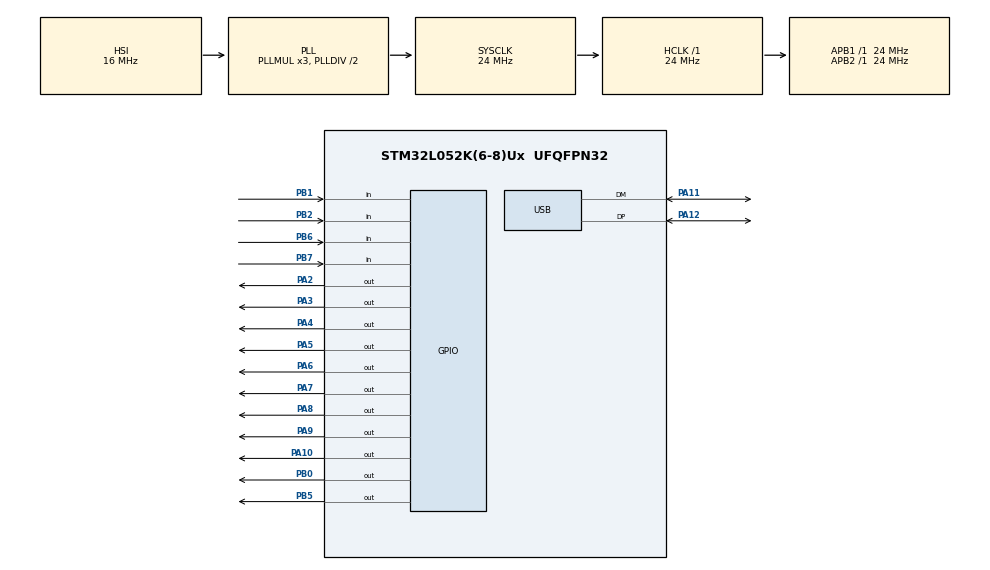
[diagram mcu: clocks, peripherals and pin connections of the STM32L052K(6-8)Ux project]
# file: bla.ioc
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Mcu.Family=STM32L0
Mcu.Name=STM32L052K(6-8)Ux
Mcu.Package=UFQFPN32
NVIC.USB_IRQn=true\:0\:0\:false\:false\:true\:false\:true\:true
PA10.Signal=GPIO_Output
PA11.Mode=Device
PA11.Signal=USB_DM
PA12.Mode=Device
PA12.Signal=USB_DP
PA13.Mode=Serial_Wire
PA13.Signal=SYS_SWDIO
PA14.Mode=Serial_Wire
PA14.Signal=SYS_SWCLK
PA2.Signal=GPIO_Output
PA3.Signal=GPIO_Output
PA4.Signal=GPIO_Output
PA5.Signal=GPIO_Output
PA6.Signal=GPIO_Output
PA7.Signal=GPIO_Output
PA8.Signal=GPIO_Output
PA9.Signal=GPIO_Output
PB0.Signal=GPIO_Output
PB1.GPIO_PuPd=GPIO_PULLDOWN
PB1.Signal=GPIO_Input
PB2.GPIO_PuPd=GPIO_PULLDOWN
PB2.Signal=GPIO_Input
PB5.Signal=GPIO_Output
PB6.GPIO_PuPd=GPIO_PULLDOWN
PB6.Signal=GPIO_Input
PB7.GPIO_PuPd=GPIO_PULLDOWN
PB7.Signal=GPIO_Input
ProjectManager.HeapSize=0x200
ProjectManager.StackSize=0x400
ProjectManager.TargetToolchain=STM32CubeIDE
RCC.AHBFreq_Value=24000000
RCC.APB1Freq_Value=24000000
RCC.APB1TimFreq_Value=24000000
RCC.APB2Freq_Value=24000000
RCC.APB2TimFreq_Value=24000000
RCC.HCLKFreq_Value=24000000
RCC.HSI16_VALUE=16000000
RCC.HSI48MClockSelection=RCC_USBCLKSOURCE_HSI48
RCC.HSI48_VALUE=48000000
RCC.HSI_VALUE=16000000
RCC.LSE_VALUE=32768
RCC.MSI_VALUE=2097000
RCC.SYSCLKFreq_VALUE=24000000
RCC.SYSCLKSource=RCC_SYSCLKSOURCE_PLLCLK
RCC.VCOOutputFreq_Value=48000000
USB_DEVICE.CLASS_NAME_FS=HID
USB_DEVICE.LANGID_STRING=1036
USB_DEVICE.PRODUCT_STRING_HID_FS=bla
USB_DEVICE.VirtualMode=Hid
USB_DEVICE.VirtualModeFS=Hid_FS
VP_USB_DEVICE_VS_USB_DEVICE_HID_FS.Mode=HID_FS
board=custom

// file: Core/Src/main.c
/* USER CODE BEGIN Header */

/* USER CODE END Header */
#include "main.h"
#include "usb_device.h"

/* USER CODE BEGIN Includes */
#include "usbd_hid.h"
#include <stdbool.h>
/* USER CODE END Includes */

/* USER CODE BEGIN PD */
#define KEY_MOD_RCTRL 	0x10
#define KEY_MOD_RSHIFT 	0x20
#define KEY_MOD_RALT   	0x40
#define KEY_NONE 		0x00
#define KEY_ERR_OVF 	0x01

#define INDEX_FN1		31
#define INDEX_FN2		32
#define INDEX_FN3		42
#define INDEX_FN4		43

#define NUM_FN4_CTRL	16384
#define NUM_FN3_CTRL	8192
#define NUM_FN2_CTRL	4096
#define NUM_FN1_CTRL	2048
#define NUM_KEY_CTRL	1024
#define NUM_KEY_ALTGR	512
#define NUM_KEY_SHIFT	256
#define NUM_FN4_ALTGR	128
#define NUM_FN4_SHIFT	64
#define NUM_FN3_ALTGR	32
#define NUM_FN3_SHIFT	16
#define NUM_FN2_ALTGR	8
#define NUM_FN2_SHIFT	4
#define NUM_FN1_ALTGR	2
#define NUM_FN1_SHIFT	1
/* USER CODE END PD */

/* USER CODE BEGIN PV */
extern USBD_HandleTypeDef hUsbDeviceFS;
typedef struct{
	uint8_t MODIFIER;
	uint8_t RESERVED;
	uint8_t KEYCODE1;
	uint8_t KEYCODE2;
	uint8_t KEYCODE3;
	uint8_t KEYCODE4;
	uint8_t KEYCODE5;
	uint8_t KEYCODE6;
}subKeyBoard;
subKeyBoard keyBoardHIDsub = {0, 0, 0, 0, 0, 0, 0, 0};
/* USER CODE END PV */

void SystemClock_Config(void);
static void MX_GPIO_Init(void);
/* USER CODE BEGIN PFP */

uint8_t INPUTKEYS[44] = {
		0x29,	0x14,	0x1A,	0x08,	0x15,	0x17,	0x1C,	0x18,	0x0C,	0x12,	0x13,
		0x2B,	0x04,	0x16,	0x07,	0x09,	0x0A,	0x0B,	0x0D,	0x0E,	0x0F,	0x33,
		0x02,	0x1D,	0x1B,	0x06,	0x19,	0x05,	0x11,	0x52,	0x28,	0xFC,	0xFD,
		0x01,	0x08,	0x04,	0x2C,	0x2A,	0x4C,	0x50,	0x51,	0x4F,	0xFE,	0xFF
};
uint8_t FN1KEYS[44] = {
		0x00,	0x1E,	0x1F,	0x20,	0x21,	0x22,	0x23,	0x24,	0x25,	0x26,	0x27,
		0x39,	0x22,	0x00,	0x2D,	0x00,	0x00,	0x00,	0x00,	0x00,	0x2D,	0x2E,
		0x02,	0x10,	0x36,	0x10,	0x36,	0x37,	0x38,	0x4B,	0x06,	0xFC,	0xFD,
		0x01,	0x08,	0x04,	0x23,	0x1A,	0x1C,	0x4A,	0x4E,	0x4D,	0xFE,	0xFF
};
uint8_t FN2KEYS[44] = {
		0x00,	0x1E,	0x1F,	0x20,	0x21,	0x22,	0x23,	0x24,	0x25,	0x26,	0x27,
		0x53,	0x22,	0x08,	0x2D,	0x00,	0x00,	0x00,	0x00,	0x00,	0x2D,	0x2E,
		0x02,	0x00,	0x00,	0x00,	0x00,	0x00,	0x00,	0x09,	0x1B,	0xFC,	0xFD,
		0x01,	0x08,	0x04,	0x25,	0x00,	0x00,	0x00,	0x15,	0x00,	0xFE,	0xFF
};
uint8_t FN3KEYS[44] = {
		0x00,	0x3A,	0x3B,	0x3C,	0x3D,	0x3E,	0x3F,	0x40,	0x41,	0x42,	0x43,
		0x49,	0x21,	0x08,	0x2E,	0x00,	0x00,	0x34,	0x2F,	0x30,	0x44,	0x45,
		0x02,	0x08,	0x38,	0x30,	0x30,	0x34,	0x31,	0x00,	0x19,	0xFC,	0xFD,
		0x01,	0x08,	0x04,	0x00,	0x00,	0x00,	0x00,	0x48,	0x00,	0xFE,	0xFF
};
uint8_t FN4KEYS[44] = {
		0x00,	0x35,	0x1F,	0x20,	0x21,	0x22,	0x23,	0x24,	0x25,	0x2F,	0x27,
		0x00,	0x64,	0x2F,	0x64,	0x00,	0x00,	0x00,	0x00,	0x00,	0x2D,	0x2E,
		0x02,	0x00,	0x00,	0x00,	0x00,	0x00,	0x00,	0x00,	0x46,	0xFC,	0xFD,
		0x01,	0x08,	0x04,	0x00,	0x00,	0x00,	0x00,	0x00,	0x65,	0xFE,	0xFF
};
bool MODIFIER_MASK[44] = {  // Mask of hardware fixed modifier keys (SHIFT, ALT, SUPER, CTRL)
		false, 	false, 	false, 	false, 	false, 	false, 	false, 	false, 	false, 	false, 	false,
		false, 	false, 	false, 	false, 	false, 	false, 	false, 	false, 	false, 	false, 	false,
		true, 	false, 	false, 	false, 	false, 	false, 	false, 	false, 	false, 	false, 	false,
		true, 	true, 	true, 	false, 	false, 	false, 	false, 	false, 	false, 	false, 	false
};
uint16_t TRIGGERS_MODIFIER[44] = {  // Mask for FN1-shift(1)FN1-altgr(2)FN2-shift(4)FN2-altgr(8)FN3-shift(16)FN3-altgr(32)FN4-shift(64)FN4-altgr(128)KEY-shift(256)Key-altgr(512)
		0,	4,	132,	132,	132,	132,	132,	132,	132,	4,	132,
		0,	40,	0,	104,	0,	0,	16,	16,	32,	132,	132,
		0,	33,	17,	16,	0,	0,	16,	4096,	14336,	0,	0,
		0,	0,	0,	0,	2048,	2048,	0,	0,	0,	0,	0
};
GPIO_TypeDef *GPIOPORTS_C[11] = {	GPIOA, 			GPIOA, 			GPIOA, 			GPIOB, 			GPIOA, 			GPIOA, 			GPIOA, 			GPIOA, 			GPIOA, 			GPIOA, 			GPIOB		};
int PINS_C[11] = {					GPIO_PIN_10, 	GPIO_PIN_9, 	GPIO_PIN_8, 	GPIO_PIN_0, 	GPIO_PIN_7, 	GPIO_PIN_6, 	GPIO_PIN_5, 	GPIO_PIN_4, 	GPIO_PIN_3, 	GPIO_PIN_2, 	GPIO_PIN_5	};
GPIO_TypeDef *GPIOPORTS_L[4] = {	GPIOB, 			GPIOB, 			GPIOB, 			GPIOB};
int PINS_L[4] = {					GPIO_PIN_2, 	GPIO_PIN_1, 	GPIO_PIN_7, 	GPIO_PIN_6};
/* USER CODE END PFP */

int main(void)
{

  /* MCU Configuration--------------------------------------------------------*/

  /* Reset of all peripherals, Initializes the Flash interface and the Systick. */
  HAL_Init();

  /* Configure the system clock */
  SystemClock_Config();

  /* Initialize all configured peripherals */
  MX_GPIO_Init();
  MX_USB_DEVICE_Init();

  /* Infinite loop */
  /* USER CODE BEGIN WHILE */
  bool last_pressed = false;
  while (1){
    /* USER CODE END WHILE */

    /* USER CODE BEGIN 3 */
	  bool PRESSED[44] = {  // Initialize physical mask pressed keys to all false
		false, 	false, 	false, 	false, 	false, 	false, 	false, 	false, 	false, 	false, 	false,
		false, 	false, 	false, 	false, 	false, 	false, 	false, 	false, 	false, 	false, 	false,
		false, 	false, 	false, 	false, 	false, 	false, 	false, 	false, 	false, 	false, 	false,
		false, 	false, 	false, 	false, 	false, 	false, 	false, 	false, 	false, 	false, 	false
	  };
	  bool press = false;  // Initialize pressed any physical key on keyboard
	  bool press_fn_bar = false;  // Initialize pressed any physical key that are not FN key
	  for (int c=0; c<11; c++) HAL_GPIO_WritePin(GPIOPORTS_C[c], PINS_C[c], GPIO_PIN_SET);  // All columns GPIO are turned ON
	  for (int line=0; line<4; line++) {
		  if(HAL_GPIO_ReadPin (GPIOPORTS_L[line], PINS_L[line])){  // Lines GPIO are checked
			  press = true;  // If one or more line GPIO are true: a key has been pressed
			  line = 4;
		   }
	  }

	  if (press){
		  for (int c=0; c<11; c++) HAL_GPIO_WritePin(GPIOPORTS_C[c], PINS_C[c], GPIO_PIN_RESET);  // All columns GPIO are turned OFF
		  for (int line=0; line<4; line++) {
			  for (int c=0; c<11; c++){  // Scan columns one by one to get all keys
				  HAL_GPIO_WritePin(GPIOPORTS_C[c], PINS_C[c], GPIO_PIN_SET);  // Turn ON GPIO of scanned column
				  if(HAL_GPIO_ReadPin (GPIOPORTS_L[line], PINS_L[line])){  // Check again line GPIO to test (column x line)
					  PRESSED[line * 11 + c] = true;  // Index of physical pressed key is turned to true
				  }
				  HAL_GPIO_WritePin(GPIOPORTS_C[c], PINS_C[c], GPIO_PIN_RESET);  // Turn OFF GPIO of scanned column
			  }
		  }

		  bool fn1 = PRESSED[INDEX_FN1];  // Check if FN1 is pressed
		  bool fn2 = PRESSED[INDEX_FN2];  // Check if FN2 is pressed
		  bool fn3 = PRESSED[INDEX_FN3];  // Check if FN3 is pressed
		  bool fn4 = PRESSED[INDEX_FN4];  // Check if FN4 is pressed

		  keyBoardHIDsub.MODIFIER = KEY_NONE;
		  keyBoardHIDsub.KEYCODE1 = KEY_NONE;
		  keyBoardHIDsub.KEYCODE2 = KEY_NONE;
		  keyBoardHIDsub.KEYCODE3 = KEY_NONE;
		  keyBoardHIDsub.KEYCODE4 = KEY_NONE;
		  keyBoardHIDsub.KEYCODE5 = KEY_NONE;
		  keyBoardHIDsub.KEYCODE6 = KEY_NONE;

		  for (int index=0; index<44; index++) {  // Loop on every physical keys
			  if (
				  !PRESSED[index] ||  // Physical key is not pressed
				  //MODIFIER_MASK[index] ||  // Si touches de modifier pressed
				  index == INDEX_FN1 ||  // FN1 is not analyzed
				  index == INDEX_FN2 ||  // FN2 is not analyzed
				  index == INDEX_FN3 ||  // FN3 is not analyzed
				  index == INDEX_FN4     // FN4 is not analyzed
			  ) continue;

			  press_fn_bar = true;  // A key that is not FN has been pressed

			  uint8_t 		  key = (uint8_t)INPUTKEYS[index];  // Affect standard key
			  if 		(fn1) key = (uint8_t)FN1KEYS[index];  // Affect FN1 key if is pressed
			  else if 	(fn2) key = (uint8_t)FN2KEYS[index];  // Affect FN2 key if is pressed€
			  else if 	(fn3) key = (uint8_t)FN3KEYS[index];  // Affect FN3 key if is pressed
			  else if 	(fn4) key = (uint8_t)FN4KEYS[index];  // Affect FN4 key if is pressed

			  uint16_t trigger_modifier = (uint16_t)TRIGGERS_MODIFIER[index];  // Get Modifier value index
			  // Affect modifier if specified in table TRIGGERS_MODIFIER
			  bool fn4_ctrl = trigger_modifier >= NUM_FN4_CTRL;
			  trigger_modifier -= NUM_FN4_CTRL * fn4_ctrl;
			  bool fn3_ctrl = trigger_modifier >= NUM_FN3_CTRL;
			  trigger_modifier -= NUM_FN3_CTRL * fn3_ctrl;
			  bool fn2_ctrl = trigger_modifier >= NUM_FN2_CTRL;
			  trigger_modifier -= NUM_FN2_CTRL * fn2_ctrl;
			  bool fn1_ctrl = trigger_modifier >= NUM_FN1_CTRL;
			  trigger_modifier -= NUM_FN1_CTRL * fn1_ctrl;
			  bool key_ctrl = trigger_modifier >= NUM_KEY_CTRL;
			  trigger_modifier -= NUM_KEY_CTRL * key_ctrl;
			  bool key_altgr = trigger_modifier >= NUM_KEY_ALTGR;  // If value in TRIGGERS_MODIFIER is higher than NUM_KEY_ALTGR
			  trigger_modifier -= NUM_KEY_ALTGR * key_altgr;  // Remove value NUM_KEY€_ALTGR from TRIGGERS_MODIFIER value index of key
			  bool key_shift = trigger_modifier >= NUM_KEY_SHIFT;  // Repeat for NUM_KEY_SHIFT
			  trigger_modifier -= NUM_KEY_SHIFT * key_shift;  // Repeat for NUM_KEY_SHIFT
			  bool fn4_altgr = trigger_modifier >= NUM_FN4_ALTGR;
			  trigger_modifier -= NUM_FN4_ALTGR * fn4_altgr;
			  bool fn4_shift = trigger_modifier >= NUM_FN4_SHIFT;
			  trigger_modifier -= NUM_FN4_SHIFT * fn4_shift;
			  bool fn3_altgr = trigger_modifier >= NUM_FN3_ALTGR;
			  trigger_modifier -= NUM_FN3_ALTGR * fn3_altgr;
			  bool fn3_shift = trigger_modifier >= NUM_FN3_SHIFT;
			  trigger_modifier -= NUM_FN3_SHIFT * fn3_shift;
			  bool fn2_altgr = trigger_modifier >= NUM_FN2_ALTGR;
			  trigger_modifier -= NUM_FN2_ALTGR * fn2_altgr;
			  bool fn2_shift = trigger_modifier >= NUM_FN2_SHIFT;
			  trigger_modifier -= NUM_FN2_SHIFT * fn2_shift;
			  bool fn1_altgr = trigger_modifier >= NUM_FN1_ALTGR;
			  trigger_modifier -= NUM_FN1_ALTGR * fn1_altgr;
			  bool fn1_shift = trigger_modifier >= NUM_FN1_SHIFT;
			  trigger_modifier -= NUM_FN1_SHIFT * fn1_shift;

			  if (
				  (key_altgr && !(fn1 || fn2 || fn3 || fn4)) ||
				  (fn4_altgr && fn4) ||
				  (fn3_altgr && fn3) ||
				  (fn2_altgr && fn2) ||
				  (fn1_altgr && fn1)
			  ) keyBoardHIDsub.MODIFIER |= KEY_MOD_RALT;

			  else if (
				  (key_shift && !(fn1 || fn2 || fn3 || fn4)) ||
				  (fn4_shift && fn4)  ||
				  (fn3_shift && fn3)  ||
				  (fn2_shift && fn2)  ||
				  (fn1_shift && fn1)
			  ) keyBoardHIDsub.MODIFIER |= KEY_MOD_RSHIFT;

			  else if (
				  (key_ctrl && !(fn1 || fn2 || fn3 || fn4)) ||
				  (fn4_ctrl && fn4)  ||
				  (fn3_ctrl && fn3)  ||
				  (fn2_ctrl && fn2)  ||
				  (fn1_ctrl && fn1)
			  ) keyBoardHIDsub.MODIFIER |= KEY_MOD_RCTRL;

			  if (MODIFIER_MASK[index] && PRESSED[index]) 	keyBoardHIDsub.MODIFIER |= 	key;
			  else if 	(keyBoardHIDsub.KEYCODE1 == 0x00) 	keyBoardHIDsub.KEYCODE1 = 	key;
			  else if 	(keyBoardHIDsub.KEYCODE2 == 0x00) 	keyBoardHIDsub.KEYCODE2 = 	key;
			  else if 	(keyBoardHIDsub.KEYCODE3 == 0x00) 	keyBoardHIDsub.KEYCODE3 = 	key;
			  else if 	(keyBoardHIDsub.KEYCODE4 == 0x00) 	keyBoardHIDsub.KEYCODE4 = 	key;
			  else if 	(keyBoardHIDsub.KEYCODE5 == 0x00) 	keyBoardHIDsub.KEYCODE5 = 	key;
			  else if 	(keyBoardHIDsub.KEYCODE6 == 0x00) 	keyBoardHIDsub.KEYCODE6 = 	key;
			  else {  // Too much key pressed
				  keyBoardHIDsub.MODIFIER = KEY_ERR_OVF;
				  keyBoardHIDsub.KEYCODE1 = KEY_ERR_OVF;
				  keyBoardHIDsub.KEYCODE2 = KEY_ERR_OVF;
				  keyBoardHIDsub.KEYCODE3 = KEY_ERR_OVF;
				  keyBoardHIDsub.KEYCODE4 = KEY_ERR_OVF;
				  keyBoardHIDsub.KEYCODE5 = KEY_ERR_OVF;
				  keyBoardHIDsub.KEYCODE6 = KEY_ERR_OVF;
			  }
		  };
		  if (press_fn_bar){
			  USBD_HID_SendReport(&hUsbDeviceFS, &keyBoardHIDsub, sizeof(keyBoardHIDsub));  // Send keys report thought USB
		  }
	  }

	  if (!press_fn_bar && last_pressed) {
		  keyBoardHIDsub.MODIFIER = KEY_NONE;
		  keyBoardHIDsub.KEYCODE1 = KEY_NONE;
		  keyBoardHIDsub.KEYCODE2 = KEY_NONE;
		  keyBoardHIDsub.KEYCODE3 = KEY_NONE;
		  keyBoardHIDsub.KEYCODE4 = KEY_NONE;
		  keyBoardHIDsub.KEYCODE5 = KEY_NONE;
		  keyBoardHIDsub.KEYCODE6 = KEY_NONE;
		  USBD_HID_SendReport(&hUsbDeviceFS, &keyBoardHIDsub, sizeof(keyBoardHIDsub));
	  }
	  last_pressed = press_fn_bar;
	  HAL_Delay(50);  // Wait of loop iteration in ms
  }
  /* USER CODE END 3 */
}

void SystemClock_Config(void)
{
  RCC_OscInitTypeDef RCC_OscInitStruct = {0};
  RCC_ClkInitTypeDef RCC_ClkInitStruct = {0};
  RCC_PeriphCLKInitTypeDef PeriphClkInit = {0};

  /** Configure the main internal regulator output voltage
  */
  __HAL_PWR_VOLTAGESCALING_CONFIG(PWR_REGULATOR_VOLTAGE_SCALE1);

  /** Initializes the RCC Oscillators according to the specified parameters
  * in the RCC_OscInitTypeDef structure.
  */
  RCC_OscInitStruct.OscillatorType = RCC_OSCILLATORTYPE_HSI|RCC_OSCILLATORTYPE_HSI48;
  RCC_OscInitStruct.HSIState = RCC_HSI_ON;
  RCC_OscInitStruct.HSICalibrationValue = RCC_HSICALIBRATION_DEFAULT;
  RCC_OscInitStruct.HSI48State = RCC_HSI48_ON;
  RCC_OscInitStruct.PLL.PLLState = RCC_PLL_ON;
  RCC_OscInitStruct.PLL.PLLSource = RCC_PLLSOURCE_HSI;
  RCC_OscInitStruct.PLL.PLLMUL = RCC_PLLMUL_3;
  RCC_OscInitStruct.PLL.PLLDIV = RCC_PLLDIV_2;
  if (HAL_RCC_OscConfig(&RCC_OscInitStruct) != HAL_OK)
  {
    Error_Handler();
  }

  /** Initializes the CPU, AHB and APB buses clocks
  */
  RCC_ClkInitStruct.ClockType = RCC_CLOCKTYPE_HCLK|RCC_CLOCKTYPE_SYSCLK
                              |RCC_CLOCKTYPE_PCLK1|RCC_CLOCKTYPE_PCLK2;
  RCC_ClkInitStruct.SYSCLKSource = RCC_SYSCLKSOURCE_PLLCLK;
  RCC_ClkInitStruct.AHBCLKDivider = RCC_SYSCLK_DIV1;
  RCC_ClkInitStruct.APB1CLKDivider = RCC_HCLK_DIV1;
  RCC_ClkInitStruct.APB2CLKDivider = RCC_HCLK_DIV1;

  if (HAL_RCC_ClockConfig(&RCC_ClkInitStruct, FLASH_LATENCY_1) != HAL_OK)
  {
    Error_Handler();
  }
  PeriphClkInit.PeriphClockSelection = RCC_PERIPHCLK_USB;
  PeriphClkInit.UsbClockSelection = RCC_USBCLKSOURCE_HSI48;
  if (HAL_RCCEx_PeriphCLKConfig(&PeriphClkInit) != HAL_OK)
  {
    Error_Handler();
  }
}

static void MX_GPIO_Init(void)
{
  GPIO_InitTypeDef GPIO_InitStruct = {0};

  /* GPIO Ports Clock Enable */
  __HAL_RCC_GPIOA_CLK_ENABLE();
  __HAL_RCC_GPIOB_CLK_ENABLE();

  /*Configure GPIO pin Output Level */
  HAL_GPIO_WritePin(GPIOA, GPIO_PIN_2|GPIO_PIN_3|GPIO_PIN_4|GPIO_PIN_5
                          |GPIO_PIN_6|GPIO_PIN_7|GPIO_PIN_8|GPIO_PIN_9
                          |GPIO_PIN_10, GPIO_PIN_RESET);

  /*Configure GPIO pin Output Level */
  HAL_GPIO_WritePin(GPIOB, GPIO_PIN_0|GPIO_PIN_5, GPIO_PIN_RESET);

  /*Configure GPIO pins : PA2 PA3 PA4 PA5
                           PA6 PA7 PA8 PA9
                           PA10 */
  GPIO_InitStruct.Pin = GPIO_PIN_2|GPIO_PIN_3|GPIO_PIN_4|GPIO_PIN_5
                          |GPIO_PIN_6|GPIO_PIN_7|GPIO_PIN_8|GPIO_PIN_9
                          |GPIO_PIN_10;
  GPIO_InitStruct.Mode = GPIO_MODE_OUTPUT_PP;
  GPIO_InitStruct.Pull = GPIO_NOPULL;
  GPIO_InitStruct.Speed = GPIO_SPEED_FREQ_LOW;
  HAL_GPIO_Init(GPIOA, &GPIO_InitStruct);

  /*Configure GPIO pins : PB0 PB5 */
  GPIO_InitStruct.Pin = GPIO_PIN_0|GPIO_PIN_5;
  GPIO_InitStruct.Mode = GPIO_MODE_OUTPUT_PP;
  GPIO_InitStruct.Pull = GPIO_NOPULL;
  GPIO_InitStruct.Speed = GPIO_SPEED_FREQ_LOW;
  HAL_GPIO_Init(GPIOB, &GPIO_InitStruct);

  /*Configure GPIO pins : PB1 PB2 PB6 PB7 */
  GPIO_InitStruct.Pin = GPIO_PIN_1|GPIO_PIN_2|GPIO_PIN_6|GPIO_PIN_7;
  GPIO_InitStruct.Mode = GPIO_MODE_INPUT;
  GPIO_InitStruct.Pull = GPIO_PULLDOWN;
  HAL_GPIO_Init(GPIOB, &GPIO_InitStruct);

}

void Error_Handler(void)
{
  __disable_irq();
  while (1)
  {
  }
}
